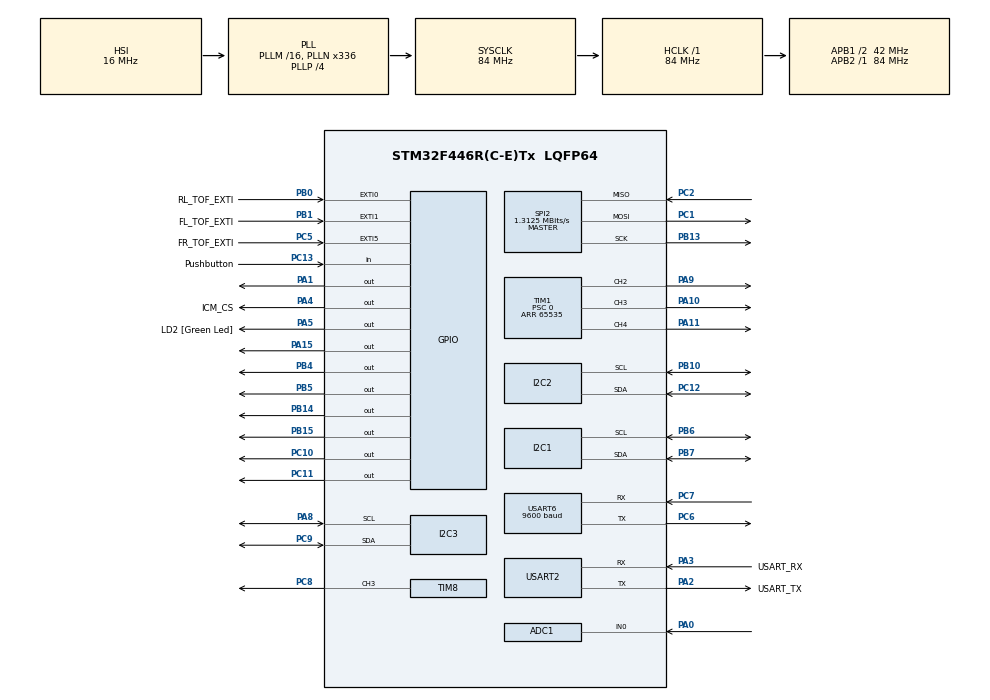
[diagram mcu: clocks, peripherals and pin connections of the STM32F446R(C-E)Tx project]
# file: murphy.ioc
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Mcu.Family=STM32F4
PH0-OSC_IN.Signal=RCC_OSC_IN
SH.S_TIM1_CH4.0=TIM1_CH4,PWM Generation4 CH4
RCC.CortexFreq_Value=84000000
SPI2.VirtualType=VM_MASTER
PB10.Mode=I2C
PC10.Signal=GPIO_Output
PC12.Signal=I2C2_SDA
PA14.GPIO_Label=TCK
PB0.GPIO_Label=RL_TOF_EXTI
PC13.GPIO_Label=Pushbutton
PB13.Signal=SPI2_SCK
PB15.Signal=GPIO_Output
RCC.SYSCLKSource=RCC_SYSCLKSOURCE_PLLCLK
ProjectManager.StackSize=0x400
NVIC.EXTI1_IRQn=true\:0\:0\:false\:false\:true\:true\:true
TIM1.Prescaler=0
SPI2.CLKPolarity=SPI_POLARITY_HIGH
TIM1.Channel-PWM\ Generation4\ CH4=TIM_CHANNEL_4
RCC.HCLKFreq_Value=84000000
RCC.APB2TimFreq_Value=84000000
PB6.Signal=I2C1_SCL
PB1.GPIO_ModeDefaultEXTI=GPIO_MODE_IT_FALLING
PC7.Signal=USART6_RX
PB6.Mode=I2C
RCC.AHBFreq_Value=84000000
SPI2.BaudRatePrescaler=SPI_BAUDRATEPRESCALER_32
PH0-OSC_IN.Mode=HSE-External-Oscillator
ADC1.Channel-0\#ChannelRegularConversion=ADC_CHANNEL_0
RCC.HSE_VALUE=8000000
PA4.GPIO_Speed=GPIO_SPEED_FREQ_HIGH
PB0.GPIO_ModeDefaultEXTI=GPIO_MODE_IT_FALLING
PC14-OSC32_IN.Mode=LSE-External-Oscillator
PA14.Mode=Serial_Wire
PB1.GPIO_Label=FL_TOF_EXTI
PC9.Mode=I2C
SPI2.CalculateBaudRate=1.3125 MBits/s
PB7.Signal=I2C1_SDA
PA8.Signal=I2C3_SCL
SH.ADCx_IN0.0=ADC1_IN0,IN0
VP_TIM1_VS_ClockSourceINT.Mode=Internal
ADC1.SamplingTime-0\#ChannelRegularConversion=ADC_SAMPLETIME_3CYCLES
RCC.FLatency-AdvancedSettings=FLASH_LATENCY_2
PH1-OSC_OUT.Mode=HSE-External-Oscillator
Mcu.Package=LQFP64
PB1.Signal=GPXTI1
TIM8.Channel-PWM\ Generation3\ CH3=TIM_CHANNEL_3
SPI2.Mode=SPI_MODE_MASTER
USART2.VirtualMode=VM_ASYNC
USART6.VirtualMode=VM_ASYNC
PA2.GPIO_Label=USART_TX
PA10.Signal=S_TIM1_CH3
PA15.Signal=GPIO_Output
USART6.BaudRate=9600
SPI2.CLKPhase=SPI_PHASE_2EDGE
RCC.APB1TimFreq_Value=84000000
SPI2.Direction=SPI_DIRECTION_2LINES
PC5.Signal=GPXTI5
TIM1.Period=65535
PB13.Mode=Full_Duplex_Master
PA4.GPIO_Label=ICM_CS
PB4.Signal=GPIO_Output
PA3.Signal=USART2_RX
SH.S_TIM8_CH3.0=TIM8_CH3,PWM Generation3 CH3
PB3.GPIO_Label=SWO
PC15-OSC32_OUT.Mode=LSE-External-Oscillator
ADC1.Rank-0\#ChannelRegularConversion=1
PC11.Signal=GPIO_Output
PC13.Signal=GPIO_Input
PC8.Signal=S_TIM8_CH3
PC2.Signal=SPI2_MISO
PC6.Signal=USART6_TX
PC2.Mode=Full_Duplex_Master
RCC.APB1CLKDivider=RCC_HCLK_DIV2
PC14-OSC32_IN.Signal=RCC_OSC32_IN
PA0-WKUP.Signal=ADCx_IN0
PA3.Mode=Asynchronous
PA13.Signal=SYS_JTMS-SWDIO
PA4.PinState=GPIO_PIN_SET
ProjectManager.TargetToolchain=STM32CubeIDE
PC6.Mode=Asynchronous
PA9.Signal=S_TIM1_CH2
TIM1.Channel-PWM\ Generation2\ CH2=TIM_CHANNEL_2
RCC.USBFreq_Value=168000000
PC15-OSC32_OUT.Signal=RCC_OSC32_OUT
PA1.Signal=GPIO_Output
PC5.GPIO_ModeDefaultEXTI=GPIO_MODE_IT_FALLING
PB10.Signal=I2C2_SCL
PB14.Signal=GPIO_Output
PA5.Signal=GPIO_Output
PC12.Mode=I2C
board=NUCLEO-F446RE
RCC.VCOOutputFreq_Value=336000000
RCC.APB2Freq_Value=84000000
SH.S_TIM1_CH2.0=TIM1_CH2,PWM Generation2 CH2
PH1-OSC_OUT.Signal=RCC_OSC_OUT
PA13.Mode=Serial_Wire
Mcu.Name=STM32F446R(C-E)Tx
PA2.Signal=USART2_TX
PA13.GPIO_Label=TMS
RCC.48MHZClocksFreq_Value=84000000
PB3.Signal=SYS_JTDO-SWO
NVIC.EXTI0_IRQn=true\:0\:0\:false\:false\:true\:true\:true
PA4.Signal=GPIO_Output
RCC.SYSCLKFreq_VALUE=84000000
PB5.Signal=GPIO_Output
ADC1.master=1
PA5.GPIO_Label=LD2 [Green Led]
PC5.GPIO_Label=FR_TOF_EXTI
PB7.Mode=I2C
PA11.Signal=S_TIM1_CH4
NVIC.EXTI9_5_IRQn=true\:0\:0\:false\:false\:true\:true\:true
PA14.Signal=SYS_JTCK-SWCLK
ProjectManager.HeapSize=0x200
SH.S_TIM1_CH3.0=TIM1_CH3,PWM Generation3 CH3
RCC.HSI_VALUE=16000000
RCC.PLLP=RCC_PLLP_DIV4
NVIC.PriorityGroup=NVIC_PRIORITYGROUP_0
ADC1.NbrOfConversionFlag=1
RCC.PLLN=336
PA2.Mode=Asynchronous
PA8.Mode=I2C
PC9.Signal=I2C3_SDA
TIM1.Channel-PWM\ Generation3\ CH3=TIM_CHANNEL_3
PC7.Mode=Asynchronous
RCC.APB1Freq_Value=42000000
PB0.Signal=GPXTI0
PC1.Signal=SPI2_MOSI
PC1.Mode=Full_Duplex_Master
PA3.GPIO_Label=USART_RX

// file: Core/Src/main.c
/* USER CODE BEGIN Header */
/**
  ******************************************************************************
  * @file           : main.c
  * @brief          : Main program body
  ******************************************************************************
  * @attention
  *
  * <h2><center>&copy; Copyright (c) 2022 STMicroelectronics.
  * All rights reserved.</center></h2>
  *
  * This software component is licensed by ST under BSD 3-Clause license,
  * the "License"; You may not use this file except in compliance with the
  * License. You may obtain a copy of the License at:
  *                        opensource.org/licenses/BSD-3-Clause
  *
  ******************************************************************************
  */
/* USER CODE END Header */
#include "main.h"

/* USER CODE BEGIN Includes */
#include "l298n_motor_controller.h"
#include "movement.h"
#include "position.h"
#include "vl53l0x_api.h"
#include "constants.h"
#include <stdio.h>
#include "stm32f4xx_hal_gpio.h"
#include "ICM20948.h"
#include "logger.h"
#include "imu_tracking.h"
#include "photoresistor.h"
/* USER CODE END Includes */

/* USER CODE BEGIN PD */

/* USER CODE END PTD */

/* Private define ------------------------------------------------------------*/
/* USER CODE BEGIN PD */

/* USER CODE END PD */

ADC_HandleTypeDef hadc1;

I2C_HandleTypeDef hi2c1;
I2C_HandleTypeDef hi2c2;
I2C_HandleTypeDef hi2c3;

SPI_HandleTypeDef hspi2;

TIM_HandleTypeDef htim1;
TIM_HandleTypeDef htim8;

UART_HandleTypeDef huart2;
UART_HandleTypeDef huart6;

/* USER CODE BEGIN PV */

// TODO: move this somewhere better
#ifdef __GNUC__
#define PUTCHAR_PROTOTYPE int __io_putchar(int ch)
#else
#define PUTCHAR_PROTOTYPE int fputc(int ch, FILE *f)
#endif

#define PRINTF_UART_HANDLE &huart6
PUTCHAR_PROTOTYPE
{
  HAL_UART_Transmit(PRINTF_UART_HANDLE, (uint8_t *)&ch, 1, HAL_MAX_DELAY);
  return ch;
}

// Motor controller pin mappings
static MotorController controllers[NUM_MOTORS] = {
	[FRONT_LEFT_MOTOR] = {
		.in1_pin = {GPIO_PIN_14, GPIOB},
		.in2_pin = {GPIO_PIN_15, GPIOB},
		.en_pin = {&htim1, TIM_CHANNEL_2, &TIM1->CCR2},
	},
	[FRONT_RIGHT_MOTOR] = {
		.in1_pin = {GPIO_PIN_11, GPIOC},
		.in2_pin = {GPIO_PIN_10, GPIOC},
		.en_pin = {&htim1, TIM_CHANNEL_3, &TIM1->CCR3},
	},
	[REAR_LEFT_MOTOR] = {
		.in1_pin = {GPIO_PIN_15, GPIOA},
		.in2_pin = {GPIO_PIN_1, GPIOA},
		.en_pin = {&htim1, TIM_CHANNEL_4, &TIM1->CCR4},
	},
	[REAR_RIGHT_MOTOR] = {
		.in1_pin = {GPIO_PIN_4, GPIOB},
		.in2_pin = {GPIO_PIN_5, GPIOB},
		.en_pin = {&htim8, TIM_CHANNEL_3, &TIM8->CCR3},
	},
};

/* USER CODE END PV */

void SystemClock_Config(void);
static void MX_GPIO_Init(void);
static void MX_USART2_UART_Init(void);
static void MX_I2C1_Init(void);
static void MX_I2C2_Init(void);
static void MX_I2C3_Init(void);
static void MX_SPI2_Init(void);
static void MX_TIM1_Init(void);
static void MX_TIM8_Init(void);
static void MX_ADC1_Init(void);
static void MX_USART6_UART_Init(void);

int main(void)
{

  /* MCU Configuration--------------------------------------------------------*/

  /* Reset of all peripherals, Initializes the Flash interface and the Systick. */
  HAL_Init();

  /* Configure the system clock */
  SystemClock_Config();

  /* Initialize all configured peripherals */
  MX_GPIO_Init();
  MX_USART2_UART_Init();
  MX_I2C1_Init();
  MX_I2C2_Init();
  MX_I2C3_Init();
  MX_SPI2_Init();
  MX_TIM1_Init();
  MX_TIM8_Init();
  MX_ADC1_Init();
  MX_USART6_UART_Init();
  /* USER CODE BEGIN 2 */

	// Initialize ToF sensors
	TOF_Init(&hi2c1, FRONT_SIDE_TOF);
	TOF_Init(&hi2c2, REAR_SIDE_TOF);
	TOF_Init(&hi2c3, FORWARD_TOF);

	movement_init(controllers);

	// Initialize IMU
	icm20948_init();
  /* USER CODE END 2 */

  /* Infinite loop */
  /* USER CODE BEGIN WHILE */
	while (1)
	{
		// Wait for button press before starting to move.
		while(HAL_GPIO_ReadPin(Pushbutton_GPIO_Port, Pushbutton_Pin) == 1);

		HAL_Delay(1000);
		move_forward(BASE_MOTOR_SPEED);

		// Main loop: correct and detect walls until button is pressed again.
		while(HAL_GPIO_ReadPin(Pushbutton_GPIO_Port, Pushbutton_Pin) == 1) {
		  if(get_tof_status(FRONT_SIDE_TOF) && get_tof_status(REAR_SIDE_TOF)) {
				  course_correction();
		  }
		  if(get_tof_status(FORWARD_TOF)) {
			detect_wall_and_turn();
		  }
			add_gyro_x_reading();
		}

		stop();
		HAL_Delay(1000);

    // Button press to output logs
	while(1) {
		while(HAL_GPIO_ReadPin(Pushbutton_GPIO_Port, Pushbutton_Pin) == 1);
		log_output();
	}

    /* USER CODE END WHILE */

	}
}

void SystemClock_Config(void)
{
  RCC_OscInitTypeDef RCC_OscInitStruct = {0};
  RCC_ClkInitTypeDef RCC_ClkInitStruct = {0};

  /** Configure the main internal regulator output voltage
  */
  __HAL_RCC_PWR_CLK_ENABLE();
  __HAL_PWR_VOLTAGESCALING_CONFIG(PWR_REGULATOR_VOLTAGE_SCALE3);
  /** Initializes the RCC Oscillators according to the specified parameters
  * in the RCC_OscInitTypeDef structure.
  */
  RCC_OscInitStruct.OscillatorType = RCC_OSCILLATORTYPE_HSI;
  RCC_OscInitStruct.HSIState = RCC_HSI_ON;
  RCC_OscInitStruct.HSICalibrationValue = RCC_HSICALIBRATION_DEFAULT;
  RCC_OscInitStruct.PLL.PLLState = RCC_PLL_ON;
  RCC_OscInitStruct.PLL.PLLSource = RCC_PLLSOURCE_HSI;
  RCC_OscInitStruct.PLL.PLLM = 16;
  RCC_OscInitStruct.PLL.PLLN = 336;
  RCC_OscInitStruct.PLL.PLLP = RCC_PLLP_DIV4;
  RCC_OscInitStruct.PLL.PLLQ = 2;
  RCC_OscInitStruct.PLL.PLLR = 2;
  if (HAL_RCC_OscConfig(&RCC_OscInitStruct) != HAL_OK)
  {
    Error_Handler();
  }
  /** Initializes the CPU, AHB and APB buses clocks
  */
  RCC_ClkInitStruct.ClockType = RCC_CLOCKTYPE_HCLK|RCC_CLOCKTYPE_SYSCLK
                              |RCC_CLOCKTYPE_PCLK1|RCC_CLOCKTYPE_PCLK2;
  RCC_ClkInitStruct.SYSCLKSource = RCC_SYSCLKSOURCE_PLLCLK;
  RCC_ClkInitStruct.AHBCLKDivider = RCC_SYSCLK_DIV1;
  RCC_ClkInitStruct.APB1CLKDivider = RCC_HCLK_DIV2;
  RCC_ClkInitStruct.APB2CLKDivider = RCC_HCLK_DIV1;

  if (HAL_RCC_ClockConfig(&RCC_ClkInitStruct, FLASH_LATENCY_2) != HAL_OK)
  {
    Error_Handler();
  }
}

static void MX_ADC1_Init(void)
{

  ADC_ChannelConfTypeDef sConfig = {0};

  /** Configure the global features of the ADC (Clock, Resolution, Data Alignment and number of conversion)
  */
  hadc1.Instance = ADC1;
  hadc1.Init.ClockPrescaler = ADC_CLOCK_SYNC_PCLK_DIV4;
  hadc1.Init.Resolution = ADC_RESOLUTION_12B;
  hadc1.Init.ScanConvMode = DISABLE;
  hadc1.Init.ContinuousConvMode = DISABLE;
  hadc1.Init.DiscontinuousConvMode = DISABLE;
  hadc1.Init.ExternalTrigConvEdge = ADC_EXTERNALTRIGCONVEDGE_NONE;
  hadc1.Init.ExternalTrigConv = ADC_SOFTWARE_START;
  hadc1.Init.DataAlign = ADC_DATAALIGN_RIGHT;
  hadc1.Init.NbrOfConversion = 1;
  hadc1.Init.DMAContinuousRequests = DISABLE;
  hadc1.Init.EOCSelection = ADC_EOC_SINGLE_CONV;
  if (HAL_ADC_Init(&hadc1) != HAL_OK)
  {
    Error_Handler();
  }
  /** Configure for the selected ADC regular channel its corresponding rank in the sequencer and its sample time.
  */
  sConfig.Channel = ADC_CHANNEL_0;
  sConfig.Rank = 1;
  sConfig.SamplingTime = ADC_SAMPLETIME_3CYCLES;
  if (HAL_ADC_ConfigChannel(&hadc1, &sConfig) != HAL_OK)
  {
    Error_Handler();
  }

}

static void MX_I2C1_Init(void)
{

  hi2c1.Instance = I2C1;
  hi2c1.Init.ClockSpeed = 100000;
  hi2c1.Init.DutyCycle = I2C_DUTYCYCLE_2;
  hi2c1.Init.OwnAddress1 = 0;
  hi2c1.Init.AddressingMode = I2C_ADDRESSINGMODE_7BIT;
  hi2c1.Init.DualAddressMode = I2C_DUALADDRESS_DISABLE;
  hi2c1.Init.OwnAddress2 = 0;
  hi2c1.Init.GeneralCallMode = I2C_GENERALCALL_DISABLE;
  hi2c1.Init.NoStretchMode = I2C_NOSTRETCH_DISABLE;
  if (HAL_I2C_Init(&hi2c1) != HAL_OK)
  {
    Error_Handler();
  }

}

static void MX_I2C2_Init(void)
{

  hi2c2.Instance = I2C2;
  hi2c2.Init.ClockSpeed = 100000;
  hi2c2.Init.DutyCycle = I2C_DUTYCYCLE_2;
  hi2c2.Init.OwnAddress1 = 0;
  hi2c2.Init.AddressingMode = I2C_ADDRESSINGMODE_7BIT;
  hi2c2.Init.DualAddressMode = I2C_DUALADDRESS_DISABLE;
  hi2c2.Init.OwnAddress2 = 0;
  hi2c2.Init.GeneralCallMode = I2C_GENERALCALL_DISABLE;
  hi2c2.Init.NoStretchMode = I2C_NOSTRETCH_DISABLE;
  if (HAL_I2C_Init(&hi2c2) != HAL_OK)
  {
    Error_Handler();
  }

}

static void MX_I2C3_Init(void)
{

  hi2c3.Instance = I2C3;
  hi2c3.Init.ClockSpeed = 100000;
  hi2c3.Init.DutyCycle = I2C_DUTYCYCLE_2;
  hi2c3.Init.OwnAddress1 = 0;
  hi2c3.Init.AddressingMode = I2C_ADDRESSINGMODE_7BIT;
  hi2c3.Init.DualAddressMode = I2C_DUALADDRESS_DISABLE;
  hi2c3.Init.OwnAddress2 = 0;
  hi2c3.Init.GeneralCallMode = I2C_GENERALCALL_DISABLE;
  hi2c3.Init.NoStretchMode = I2C_NOSTRETCH_DISABLE;
  if (HAL_I2C_Init(&hi2c3) != HAL_OK)
  {
    Error_Handler();
  }

}

static void MX_SPI2_Init(void)
{

  /* SPI2 parameter configuration*/
  hspi2.Instance = SPI2;
  hspi2.Init.Mode = SPI_MODE_MASTER;
  hspi2.Init.Direction = SPI_DIRECTION_2LINES;
  hspi2.Init.DataSize = SPI_DATASIZE_8BIT;
  hspi2.Init.CLKPolarity = SPI_POLARITY_HIGH;
  hspi2.Init.CLKPhase = SPI_PHASE_2EDGE;
  hspi2.Init.NSS = SPI_NSS_SOFT;
  hspi2.Init.BaudRatePrescaler = SPI_BAUDRATEPRESCALER_32;
  hspi2.Init.FirstBit = SPI_FIRSTBIT_MSB;
  hspi2.Init.TIMode = SPI_TIMODE_DISABLE;
  hspi2.Init.CRCCalculation = SPI_CRCCALCULATION_DISABLE;
  hspi2.Init.CRCPolynomial = 10;
  if (HAL_SPI_Init(&hspi2) != HAL_OK)
  {
    Error_Handler();
  }

}

static void MX_TIM1_Init(void)
{

  TIM_ClockConfigTypeDef sClockSourceConfig = {0};
  TIM_MasterConfigTypeDef sMasterConfig = {0};
  TIM_OC_InitTypeDef sConfigOC = {0};
  TIM_BreakDeadTimeConfigTypeDef sBreakDeadTimeConfig = {0};

  htim1.Instance = TIM1;
  htim1.Init.Prescaler = 0;
  htim1.Init.CounterMode = TIM_COUNTERMODE_UP;
  htim1.Init.Period = 65535;
  htim1.Init.ClockDivision = TIM_CLOCKDIVISION_DIV1;
  htim1.Init.RepetitionCounter = 0;
  htim1.Init.AutoReloadPreload = TIM_AUTORELOAD_PRELOAD_DISABLE;
  if (HAL_TIM_Base_Init(&htim1) != HAL_OK)
  {
    Error_Handler();
  }
  sClockSourceConfig.ClockSource = TIM_CLOCKSOURCE_INTERNAL;
  if (HAL_TIM_ConfigClockSource(&htim1, &sClockSourceConfig) != HAL_OK)
  {
    Error_Handler();
  }
  if (HAL_TIM_PWM_Init(&htim1) != HAL_OK)
  {
    Error_Handler();
  }
  sMasterConfig.MasterOutputTrigger = TIM_TRGO_RESET;
  sMasterConfig.MasterSlaveMode = TIM_MASTERSLAVEMODE_DISABLE;
  if (HAL_TIMEx_MasterConfigSynchronization(&htim1, &sMasterConfig) != HAL_OK)
  {
    Error_Handler();
  }
  sConfigOC.OCMode = TIM_OCMODE_PWM1;
  sConfigOC.Pulse = 0;
  sConfigOC.OCPolarity = TIM_OCPOLARITY_HIGH;
  sConfigOC.OCNPolarity = TIM_OCNPOLARITY_HIGH;
  sConfigOC.OCFastMode = TIM_OCFAST_DISABLE;
  sConfigOC.OCIdleState = TIM_OCIDLESTATE_RESET;
  sConfigOC.OCNIdleState = TIM_OCNIDLESTATE_RESET;
  if (HAL_TIM_PWM_ConfigChannel(&htim1, &sConfigOC, TIM_CHANNEL_2) != HAL_OK)
  {
    Error_Handler();
  }
  if (HAL_TIM_PWM_ConfigChannel(&htim1, &sConfigOC, TIM_CHANNEL_3) != HAL_OK)
  {
    Error_Handler();
  }
  if (HAL_TIM_PWM_ConfigChannel(&htim1, &sConfigOC, TIM_CHANNEL_4) != HAL_OK)
  {
    Error_Handler();
  }
  sBreakDeadTimeConfig.OffStateRunMode = TIM_OSSR_DISABLE;
  sBreakDeadTimeConfig.OffStateIDLEMode = TIM_OSSI_DISABLE;
  sBreakDeadTimeConfig.LockLevel = TIM_LOCKLEVEL_OFF;
  sBreakDeadTimeConfig.DeadTime = 0;
  sBreakDeadTimeConfig.BreakState = TIM_BREAK_DISABLE;
  sBreakDeadTimeConfig.BreakPolarity = TIM_BREAKPOLARITY_HIGH;
  sBreakDeadTimeConfig.AutomaticOutput = TIM_AUTOMATICOUTPUT_DISABLE;
  if (HAL_TIMEx_ConfigBreakDeadTime(&htim1, &sBreakDeadTimeConfig) != HAL_OK)
  {
    Error_Handler();
  }
  HAL_TIM_MspPostInit(&htim1);

}

static void MX_TIM8_Init(void)
{

  TIM_MasterConfigTypeDef sMasterConfig = {0};
  TIM_OC_InitTypeDef sConfigOC = {0};
  TIM_BreakDeadTimeConfigTypeDef sBreakDeadTimeConfig = {0};

  htim8.Instance = TIM8;
  htim8.Init.Prescaler = 0;
  htim8.Init.CounterMode = TIM_COUNTERMODE_UP;
  htim8.Init.Period = 65535;
  htim8.Init.ClockDivision = TIM_CLOCKDIVISION_DIV1;
  htim8.Init.RepetitionCounter = 0;
  htim8.Init.AutoReloadPreload = TIM_AUTORELOAD_PRELOAD_DISABLE;
  if (HAL_TIM_PWM_Init(&htim8) != HAL_OK)
  {
    Error_Handler();
  }
  sMasterConfig.MasterOutputTrigger = TIM_TRGO_RESET;
  sMasterConfig.MasterSlaveMode = TIM_MASTERSLAVEMODE_DISABLE;
  if (HAL_TIMEx_MasterConfigSynchronization(&htim8, &sMasterConfig) != HAL_OK)
  {
    Error_Handler();
  }
  sConfigOC.OCMode = TIM_OCMODE_PWM1;
  sConfigOC.Pulse = 0;
  sConfigOC.OCPolarity = TIM_OCPOLARITY_HIGH;
  sConfigOC.OCNPolarity = TIM_OCNPOLARITY_HIGH;
  sConfigOC.OCFastMode = TIM_OCFAST_DISABLE;
  sConfigOC.OCIdleState = TIM_OCIDLESTATE_RESET;
  sConfigOC.OCNIdleState = TIM_OCNIDLESTATE_RESET;
  if (HAL_TIM_PWM_ConfigChannel(&htim8, &sConfigOC, TIM_CHANNEL_3) != HAL_OK)
  {
    Error_Handler();
  }
  sBreakDeadTimeConfig.OffStateRunMode = TIM_OSSR_DISABLE;
  sBreakDeadTimeConfig.OffStateIDLEMode = TIM_OSSI_DISABLE;
  sBreakDeadTimeConfig.LockLevel = TIM_LOCKLEVEL_OFF;
  sBreakDeadTimeConfig.DeadTime = 0;
  sBreakDeadTimeConfig.BreakState = TIM_BREAK_DISABLE;
  sBreakDeadTimeConfig.BreakPolarity = TIM_BREAKPOLARITY_HIGH;
  sBreakDeadTimeConfig.AutomaticOutput = TIM_AUTOMATICOUTPUT_DISABLE;
  if (HAL_TIMEx_ConfigBreakDeadTime(&htim8, &sBreakDeadTimeConfig) != HAL_OK)
  {
    Error_Handler();
  }
  HAL_TIM_MspPostInit(&htim8);

}

static void MX_USART2_UART_Init(void)
{

  huart2.Instance = USART2;
  huart2.Init.BaudRate = 115200;
  huart2.Init.WordLength = UART_WORDLENGTH_8B;
  huart2.Init.StopBits = UART_STOPBITS_1;
  huart2.Init.Parity = UART_PARITY_NONE;
  huart2.Init.Mode = UART_MODE_TX_RX;
  huart2.Init.HwFlowCtl = UART_HWCONTROL_NONE;
  huart2.Init.OverSampling = UART_OVERSAMPLING_16;
  if (HAL_UART_Init(&huart2) != HAL_OK)
  {
    Error_Handler();
  }

}

static void MX_USART6_UART_Init(void)
{

  huart6.Instance = USART6;
  huart6.Init.BaudRate = 9600;
  huart6.Init.WordLength = UART_WORDLENGTH_8B;
  huart6.Init.StopBits = UART_STOPBITS_1;
  huart6.Init.Parity = UART_PARITY_NONE;
  huart6.Init.Mode = UART_MODE_TX_RX;
  huart6.Init.HwFlowCtl = UART_HWCONTROL_NONE;
  huart6.Init.OverSampling = UART_OVERSAMPLING_16;
  if (HAL_UART_Init(&huart6) != HAL_OK)
  {
    Error_Handler();
  }

}

static void MX_GPIO_Init(void)
{
  GPIO_InitTypeDef GPIO_InitStruct = {0};

  /* GPIO Ports Clock Enable */
  __HAL_RCC_GPIOC_CLK_ENABLE();
  __HAL_RCC_GPIOH_CLK_ENABLE();
  __HAL_RCC_GPIOA_CLK_ENABLE();
  __HAL_RCC_GPIOB_CLK_ENABLE();

  /*Configure GPIO pin Output Level */
  HAL_GPIO_WritePin(GPIOA, GPIO_PIN_1|LD2_Pin|GPIO_PIN_15, GPIO_PIN_RESET);

  /*Configure GPIO pin Output Level */
  HAL_GPIO_WritePin(ICM_CS_GPIO_Port, ICM_CS_Pin, GPIO_PIN_SET);

  /*Configure GPIO pin Output Level */
  HAL_GPIO_WritePin(GPIOB, GPIO_PIN_14|GPIO_PIN_15|GPIO_PIN_4|GPIO_PIN_5, GPIO_PIN_RESET);

  /*Configure GPIO pin Output Level */
  HAL_GPIO_WritePin(GPIOC, GPIO_PIN_10|GPIO_PIN_11, GPIO_PIN_RESET);

  /*Configure GPIO pin : Pushbutton_Pin */
  GPIO_InitStruct.Pin = Pushbutton_Pin;
  GPIO_InitStruct.Mode = GPIO_MODE_INPUT;
  GPIO_InitStruct.Pull = GPIO_NOPULL;
  HAL_GPIO_Init(Pushbutton_GPIO_Port, &GPIO_InitStruct);

  /*Configure GPIO pins : PA1 LD2_Pin PA15 */
  GPIO_InitStruct.Pin = GPIO_PIN_1|LD2_Pin|GPIO_PIN_15;
  GPIO_InitStruct.Mode = GPIO_MODE_OUTPUT_PP;
  GPIO_InitStruct.Pull = GPIO_NOPULL;
  GPIO_InitStruct.Speed = GPIO_SPEED_FREQ_LOW;
  HAL_GPIO_Init(GPIOA, &GPIO_InitStruct);

  /*Configure GPIO pin : ICM_CS_Pin */
  GPIO_InitStruct.Pin = ICM_CS_Pin;
  GPIO_InitStruct.Mode = GPIO_MODE_OUTPUT_PP;
  GPIO_InitStruct.Pull = GPIO_NOPULL;
  GPIO_InitStruct.Speed = GPIO_SPEED_FREQ_HIGH;
  HAL_GPIO_Init(ICM_CS_GPIO_Port, &GPIO_InitStruct);

  /*Configure GPIO pin : FR_TOF_EXTI_Pin */
  GPIO_InitStruct.Pin = FR_TOF_EXTI_Pin;
  GPIO_InitStruct.Mode = GPIO_MODE_IT_FALLING;
  GPIO_InitStruct.Pull = GPIO_NOPULL;
  HAL_GPIO_Init(FR_TOF_EXTI_GPIO_Port, &GPIO_InitStruct);

  /*Configure GPIO pins : RL_TOF_EXTI_Pin FL_TOF_EXTI_Pin */
  GPIO_InitStruct.Pin = RL_TOF_EXTI_Pin|FL_TOF_EXTI_Pin;
  GPIO_InitStruct.Mode = GPIO_MODE_IT_FALLING;
  GPIO_InitStruct.Pull = GPIO_NOPULL;
  HAL_GPIO_Init(GPIOB, &GPIO_InitStruct);

  /*Configure GPIO pins : PB14 PB15 PB4 PB5 */
  GPIO_InitStruct.Pin = GPIO_PIN_14|GPIO_PIN_15|GPIO_PIN_4|GPIO_PIN_5;
  GPIO_InitStruct.Mode = GPIO_MODE_OUTPUT_PP;
  GPIO_InitStruct.Pull = GPIO_NOPULL;
  GPIO_InitStruct.Speed = GPIO_SPEED_FREQ_LOW;
  HAL_GPIO_Init(GPIOB, &GPIO_InitStruct);

  /*Configure GPIO pins : PC10 PC11 */
  GPIO_InitStruct.Pin = GPIO_PIN_10|GPIO_PIN_11;
  GPIO_InitStruct.Mode = GPIO_MODE_OUTPUT_PP;
  GPIO_InitStruct.Pull = GPIO_NOPULL;
  GPIO_InitStruct.Speed = GPIO_SPEED_FREQ_LOW;
  HAL_GPIO_Init(GPIOC, &GPIO_InitStruct);

  /* EXTI interrupt init*/
  HAL_NVIC_SetPriority(EXTI0_IRQn, 0, 0);
  HAL_NVIC_EnableIRQ(EXTI0_IRQn);

  HAL_NVIC_SetPriority(EXTI1_IRQn, 0, 0);
  HAL_NVIC_EnableIRQ(EXTI1_IRQn);

  HAL_NVIC_SetPriority(EXTI9_5_IRQn, 0, 0);
  HAL_NVIC_EnableIRQ(EXTI9_5_IRQn);

}

void Error_Handler(void)
{
  __disable_irq();
  while (1)
  {
  }
}

/************************ (C) COPYRIGHT STMicroelectronics *****END OF FILE****/
